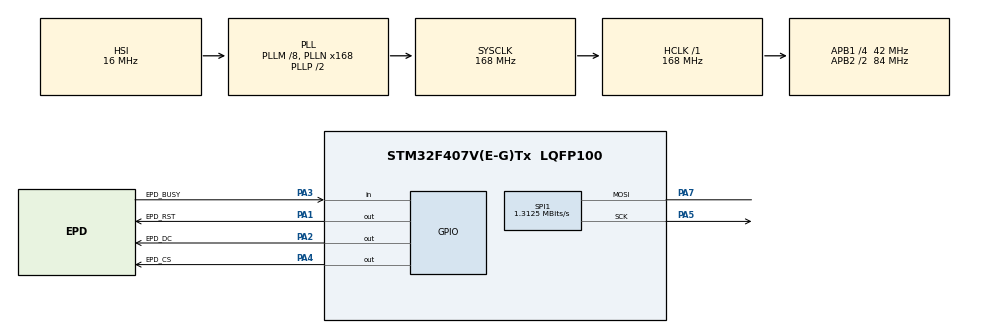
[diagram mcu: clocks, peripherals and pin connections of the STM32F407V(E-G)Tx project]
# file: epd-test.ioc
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Mcu.Family=STM32F4
Mcu.Name=STM32F407V(E-G)Tx
Mcu.Package=LQFP100
NVIC.PriorityGroup=NVIC_PRIORITYGROUP_4
PA1.GPIO_Label=EPD_RST
PA1.Signal=GPIO_Output
PA13.Mode=Serial_Wire
PA13.Signal=SYS_JTMS-SWDIO
PA14.Mode=Serial_Wire
PA14.Signal=SYS_JTCK-SWCLK
PA2.GPIO_Label=EPD_DC
PA2.Signal=GPIO_Output
PA3.GPIO_Label=EPD_BUSY
PA3.Signal=GPIO_Input
PA4.GPIO_Label=EPD_CS
PA4.Signal=GPIO_Output
PA5.Mode=Simplex_Bidirectional_Master
PA5.Signal=SPI1_SCK
PA7.Mode=Simplex_Bidirectional_Master
PA7.Signal=SPI1_MOSI
ProjectManager.HeapSize=0x200
ProjectManager.StackSize=0x400
ProjectManager.TargetToolchain=STM32CubeIDE
RCC.48MHZClocksFreq_Value=84000000
RCC.AHBFreq_Value=168000000
RCC.APB1CLKDivider=RCC_HCLK_DIV4
RCC.APB1Freq_Value=42000000
RCC.APB1TimFreq_Value=84000000
RCC.APB2CLKDivider=RCC_HCLK_DIV2
RCC.APB2Freq_Value=84000000
RCC.APB2TimFreq_Value=168000000
RCC.CortexFreq_Value=168000000
RCC.HCLKFreq_Value=168000000
RCC.HSE_VALUE=25000000
RCC.HSI_VALUE=16000000
RCC.LSE_VALUE=32768
RCC.PLLM=8
RCC.PLLN=168
RCC.SYSCLKFreq_VALUE=168000000
RCC.SYSCLKSource=RCC_SYSCLKSOURCE_PLLCLK
RCC.VCOOutputFreq_Value=336000000
SPI1.BaudRatePrescaler=SPI_BAUDRATEPRESCALER_64
SPI1.CalculateBaudRate=1.3125 MBits/s
SPI1.Direction=SPI_DIRECTION_1LINE
SPI1.Mode=SPI_MODE_MASTER
SPI1.VirtualType=VM_MASTER
board=custom

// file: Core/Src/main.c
/* USER CODE BEGIN Header */
/**
 ******************************************************************************
 * @file           : main.c
 * @brief          : Main program body
 ******************************************************************************
 * @attention
 *
 * Copyright (c) 2022 STMicroelectronics.
 * All rights reserved.
 *
 * This software is licensed under terms that can be found in the LICENSE file
 * in the root directory of this software component.
 * If no LICENSE file comes with this software, it is provided AS-IS.
 *
 ******************************************************************************
 */
/* USER CODE END Header */
#include "main.h"

/* USER CODE BEGIN Includes */
#include "epd_driver.h"
#include "painter.h"
/* USER CODE END Includes */

SPI_HandleTypeDef hspi1;

void SystemClock_Config(void);
static void MX_GPIO_Init(void);
static void MX_SPI1_Init(void);

int main(void)
{

	/* MCU Configuration--------------------------------------------------------*/

	/* Reset of all peripherals, Initializes the Flash interface and the Systick. */
	HAL_Init();

	/* Configure the system clock */
	SystemClock_Config();

	/* Initialize all configured peripherals */
	MX_GPIO_Init();
	MX_SPI1_Init();
	/* USER CODE BEGIN 2 */

	EPD_Init();
	EPD_Clear();

	uint8_t image[EPD_BYTES];

	char text[3][16+1] = {
			{'a', 'b', 'c', 'd', 'e', 'f', 'g', 'h', 'i', 'j', 'k', 'l', 'm', 'n', 'o', 'p', '\0'},
			{'q', 'r', 's', 't', 'u', 'v', 'w', 'x', 'y', 'z', ' ', '0', '1', '2', '3', '4', '\0'},
			{'5', '6', '7', '8', '9', ' ', '.', ',', '+', '-', '<', '>', '\0'}
	};

	draw_clean(image);
	draw_text(image, text[0], 0, 120);
	draw_text(image, text[1], 0, 132);
	draw_text(image, text[2], 0, 144);
	draw_rectangle(image, 45, 120, 60, 60);

	EPD_Display(image);

	draw_rectangle(image, 0, 200, 128, 12);
	draw_float_number(image, 43172.5, 0, 200);
	draw_float_number(image, 999, 0, 220);
	draw_float_number(image, 0, 0, 240);

	EPD_Display(image);

	EPD_Sleep();

	/* USER CODE END 2 */

	/* Infinite loop */
	while (1)
	{

		/* USER CODE BEGIN 3 */
		HAL_Delay(10);
	}
	/* USER CODE END 3 */
}

void SystemClock_Config(void)
{
	RCC_OscInitTypeDef RCC_OscInitStruct = {0};
	RCC_ClkInitTypeDef RCC_ClkInitStruct = {0};

	/** Configure the main internal regulator output voltage
	 */
	__HAL_RCC_PWR_CLK_ENABLE();
	__HAL_PWR_VOLTAGESCALING_CONFIG(PWR_REGULATOR_VOLTAGE_SCALE1);
	/** Initializes the RCC Oscillators according to the specified parameters
	 * in the RCC_OscInitTypeDef structure.
	 */
	RCC_OscInitStruct.OscillatorType = RCC_OSCILLATORTYPE_HSI;
	RCC_OscInitStruct.HSIState = RCC_HSI_ON;
	RCC_OscInitStruct.HSICalibrationValue = RCC_HSICALIBRATION_DEFAULT;
	RCC_OscInitStruct.PLL.PLLState = RCC_PLL_ON;
	RCC_OscInitStruct.PLL.PLLSource = RCC_PLLSOURCE_HSI;
	RCC_OscInitStruct.PLL.PLLM = 8;
	RCC_OscInitStruct.PLL.PLLN = 168;
	RCC_OscInitStruct.PLL.PLLP = RCC_PLLP_DIV2;
	RCC_OscInitStruct.PLL.PLLQ = 4;
	if (HAL_RCC_OscConfig(&RCC_OscInitStruct) != HAL_OK)
	{
		Error_Handler();
	}
	/** Initializes the CPU, AHB and APB buses clocks
	 */
	RCC_ClkInitStruct.ClockType = RCC_CLOCKTYPE_HCLK|RCC_CLOCKTYPE_SYSCLK
			|RCC_CLOCKTYPE_PCLK1|RCC_CLOCKTYPE_PCLK2;
	RCC_ClkInitStruct.SYSCLKSource = RCC_SYSCLKSOURCE_PLLCLK;
	RCC_ClkInitStruct.AHBCLKDivider = RCC_SYSCLK_DIV1;
	RCC_ClkInitStruct.APB1CLKDivider = RCC_HCLK_DIV4;
	RCC_ClkInitStruct.APB2CLKDivider = RCC_HCLK_DIV2;

	if (HAL_RCC_ClockConfig(&RCC_ClkInitStruct, FLASH_LATENCY_5) != HAL_OK)
	{
		Error_Handler();
	}
}

static void MX_SPI1_Init(void)
{

	/* SPI1 parameter configuration*/
	hspi1.Instance = SPI1;
	hspi1.Init.Mode = SPI_MODE_MASTER;
	hspi1.Init.Direction = SPI_DIRECTION_1LINE;
	hspi1.Init.DataSize = SPI_DATASIZE_8BIT;
	hspi1.Init.CLKPolarity = SPI_POLARITY_LOW;
	hspi1.Init.CLKPhase = SPI_PHASE_1EDGE;
	hspi1.Init.NSS = SPI_NSS_SOFT;
	hspi1.Init.BaudRatePrescaler = SPI_BAUDRATEPRESCALER_64;
	hspi1.Init.FirstBit = SPI_FIRSTBIT_MSB;
	hspi1.Init.TIMode = SPI_TIMODE_DISABLE;
	hspi1.Init.CRCCalculation = SPI_CRCCALCULATION_DISABLE;
	hspi1.Init.CRCPolynomial = 10;
	if (HAL_SPI_Init(&hspi1) != HAL_OK)
	{
		Error_Handler();
	}

}

static void MX_GPIO_Init(void)
{
	GPIO_InitTypeDef GPIO_InitStruct = {0};

	/* GPIO Ports Clock Enable */
	__HAL_RCC_GPIOA_CLK_ENABLE();

	/*Configure GPIO pin Output Level */
	HAL_GPIO_WritePin(GPIOA, EPD_RST_Pin|EPD_DC_Pin|EPD_CS_Pin, GPIO_PIN_RESET);

	/*Configure GPIO pins : EPD_RST_Pin EPD_DC_Pin EPD_CS_Pin */
	GPIO_InitStruct.Pin = EPD_RST_Pin|EPD_DC_Pin|EPD_CS_Pin;
	GPIO_InitStruct.Mode = GPIO_MODE_OUTPUT_PP;
	GPIO_InitStruct.Pull = GPIO_NOPULL;
	GPIO_InitStruct.Speed = GPIO_SPEED_FREQ_LOW;
	HAL_GPIO_Init(GPIOA, &GPIO_InitStruct);

	/*Configure GPIO pin : EPD_BUSY_Pin */
	GPIO_InitStruct.Pin = EPD_BUSY_Pin;
	GPIO_InitStruct.Mode = GPIO_MODE_INPUT;
	GPIO_InitStruct.Pull = GPIO_NOPULL;
	HAL_GPIO_Init(EPD_BUSY_GPIO_Port, &GPIO_InitStruct);

}

void Error_Handler(void)
{
	__disable_irq();
	while (1)
	{
	}
}
